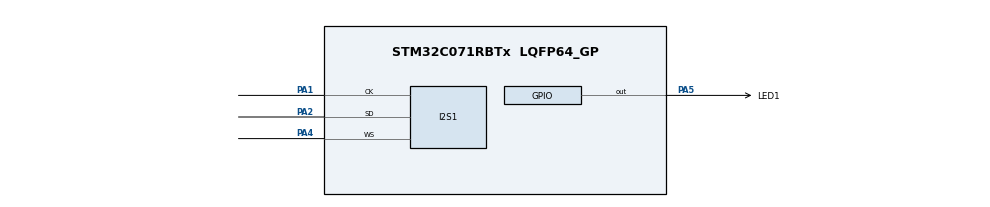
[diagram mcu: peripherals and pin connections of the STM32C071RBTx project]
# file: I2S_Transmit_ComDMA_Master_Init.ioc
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Dma.Request0=SPI1_TX
Dma.SPI1_TX.0.Direction=DMA_MEMORY_TO_PERIPH
Dma.SPI1_TX.0.EventEnable=DISABLE
Dma.SPI1_TX.0.Instance=DMA1_Channel1
Dma.SPI1_TX.0.MemDataAlignment=DMA_MDATAALIGN_HALFWORD
Dma.SPI1_TX.0.MemInc=DMA_MINC_ENABLE
Dma.SPI1_TX.0.Mode=DMA_NORMAL
Dma.SPI1_TX.0.PeriphDataAlignment=DMA_PDATAALIGN_HALFWORD
Dma.SPI1_TX.0.PeriphInc=DMA_PINC_DISABLE
Dma.SPI1_TX.0.Polarity=HAL_DMAMUX_REQ_GEN_RISING
Dma.SPI1_TX.0.Priority=DMA_PRIORITY_LOW
Dma.SPI1_TX.0.RequestNumber=1
Dma.SPI1_TX.0.SignalID=NONE
Dma.SPI1_TX.0.SyncEnable=DISABLE
Dma.SPI1_TX.0.SyncPolarity=HAL_DMAMUX_SYNC_NO_EVENT
Dma.SPI1_TX.0.SyncRequestNumber=1
Dma.SPI1_TX.0.SyncSignalID=NONE
I2S1.ErrorAudioFreq=-0.27 %
I2S1.FullDuplexMode=I2S_FULLDUPLEXMODE_DISABLE
I2S1.Instance=SPI$Index
I2S1.RealAudioFreq=7.978 KHz
I2S1.Standard=I2S_STANDARD_PCM_SHORT
I2S1.VirtualMode=I2S_MODE_MASTER
Mcu.Family=STM32C0
Mcu.Name=STM32C071RBTx
Mcu.Package=LQFP64_GP
NVIC.DMA1_Channel1_IRQn=true\:0\:0\:false\:false\:true\:false\:true\:true
PA1.Mode=Half_Duplex_Master
PA1.Signal=I2S1_CK
PA2.Mode=Half_Duplex_Master
PA2.Signal=I2S1_SD
PA4.Mode=Half_Duplex_Master
PA4.Signal=I2S1_WS
PA5.GPIO_Label=LED1
PA5.Signal=GPIO_Output
ProjectManager.HeapSize=0x200
ProjectManager.StackSize=0x400
ProjectManager.TargetToolchain=EWARM V9.20
RCC.ADCFreq_Value=48000000
RCC.AHBFreq_Value=48000000
RCC.CortexFreq_Value=48000000
RCC.EXTERNAL_CLOCK_VALUE=12288000
RCC.HCLKFreq_Value=48000000
RCC.HSE_VALUE=8000000
RCC.HSI48_VALUE=48000000
RCC.HSISYSCLKDivider=RCC_HSI_DIV1
RCC.HSI_VALUE=48000000
RCC.LSE_VALUE=32768
RCC.SYSCLKFreq_VALUE=48000000
board=custom

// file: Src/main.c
/* USER CODE BEGIN Header */
/**
  ******************************************************************************
  * @file    I2S/I2S_Transmit_ComDMA_Master_Init/Src/main.c
  * @author  MCD Application Team
  * @brief   This sample code shows how to use STM32C0xx I2S LL API to transmit
  *          a data buffer with a communication process based on DMA transfer.
  ******************************************************************************
  * @attention
  *
  * Copyright (c) 2024 STMicroelectronics.
  * All rights reserved.
  *
  * This software is licensed under terms that can be found in the LICENSE file
  * in the root directory of this software component.
  * If no LICENSE file comes with this software, it is provided AS-IS.
  *
  ******************************************************************************
  */
/* USER CODE END Header */
#include "main.h"

/* USER CODE BEGIN Includes */
#include "audio_sample.c"
/* USER CODE END Includes */

/* USER CODE BEGIN PV */
__IO uint8_t ubTransmissionComplete = 0;
/* USER CODE END PV */

void SystemClock_Config(void);
static void MX_GPIO_Init(void);
static void MX_DMA_Init(void);
static void MX_I2S1_Init(void);

int main(void)
{

  /* MCU Configuration--------------------------------------------------------*/

  /* Reset of all peripherals, Initializes the Flash interface and the Systick. */
  LL_APB2_GRP1_EnableClock(LL_APB2_GRP1_PERIPH_SYSCFG);
  LL_APB1_GRP1_EnableClock(LL_APB1_GRP1_PERIPH_PWR);

  /* SysTick_IRQn interrupt configuration */
  NVIC_SetPriority(SysTick_IRQn, 3);

  /* Configure the system clock */
  SystemClock_Config();

  /* Initialize all configured peripherals */
  MX_GPIO_Init();
  MX_DMA_Init();
  MX_I2S1_Init();
  /* USER CODE BEGIN 2 */

  /* Configure the DMA1_Channel1 functional parameters */
  LL_DMA_ConfigTransfer(DMA1,
                        LL_DMA_CHANNEL_1,
                        LL_DMA_DIRECTION_MEMORY_TO_PERIPH | LL_DMA_PRIORITY_HIGH | LL_DMA_MODE_NORMAL |
                        LL_DMA_PERIPH_NOINCREMENT | LL_DMA_MEMORY_INCREMENT |
                        LL_DMA_PDATAALIGN_HALFWORD | LL_DMA_MDATAALIGN_HALFWORD);

  LL_DMA_ConfigAddresses(DMA1,
                         LL_DMA_CHANNEL_1,
                         (uint32_t)AUDIO_SAMPLE, LL_SPI_DMA_GetRegAddr(SPI1),
                         LL_DMA_GetDataTransferDirection(DMA1, LL_DMA_CHANNEL_1));

  LL_DMA_SetDataLength(DMA1, LL_DMA_CHANNEL_1, sizeof(AUDIO_SAMPLE));

  LL_DMA_EnableIT_TC(DMA1, LL_DMA_CHANNEL_1);
  LL_DMA_EnableIT_TE(DMA1, LL_DMA_CHANNEL_1);

  /* Enable DMA TX interrupt */
  LL_I2S_EnableDMAReq_TX(SPI1);

  /* Enable I2S */
  LL_I2S_Enable(SPI1);

  /* Enable DMA transfer */
  LL_DMA_EnableChannel(DMA1, LL_DMA_CHANNEL_1);

  while (ubTransmissionComplete != 1)
  {
    /* Wait for end of transmission */
  }

  while (LL_I2S_IsActiveFlag_BSY(SPI1) == 1)
  {
    /* Wait for end of transmission */
  }

  LL_I2S_Disable(SPI1);

  LED_On();
  /* USER CODE END 2 */

  /* Infinite loop */
  while (1)
  {

  }
}

void SystemClock_Config(void)
{

  LL_FLASH_SetLatency(LL_FLASH_LATENCY_1);

  /* HSI configuration and activation */
  LL_RCC_HSI_Enable();
  while(LL_RCC_HSI_IsReady() != 1)
  {
  }

  LL_RCC_HSI_SetCalibTrimming(64);
  LL_RCC_SetHSIDiv(LL_RCC_HSI_DIV_1);
  /* Set AHB prescaler*/
  LL_RCC_SetAHBPrescaler(LL_RCC_HCLK_DIV_1);

  /* Sysclk activation on the HSI */
  LL_RCC_SetSysClkSource(LL_RCC_SYS_CLKSOURCE_HSI);
  while(LL_RCC_GetSysClkSource() != LL_RCC_SYS_CLKSOURCE_STATUS_HSI)
  {
  }

  /* Set APB1 prescaler*/
  LL_RCC_SetAPB1Prescaler(LL_RCC_APB1_DIV_1);
  LL_Init1msTick(48000000);
  /* Update CMSIS variable (which can be updated also through SystemCoreClockUpdate function) */
  LL_SetSystemCoreClock(48000000);
}

static void MX_I2S1_Init(void)
{

  LL_I2S_InitTypeDef I2S_InitStruct = {0};

  LL_GPIO_InitTypeDef GPIO_InitStruct = {0};

  LL_RCC_SetI2SClockSource(LL_RCC_I2S1_CLKSOURCE_SYSCLK);

  /* Peripheral clock enable */
  LL_APB2_GRP1_EnableClock(LL_APB2_GRP1_PERIPH_SPI1);

  LL_IOP_GRP1_EnableClock(LL_IOP_GRP1_PERIPH_GPIOA);
  /**I2S1 GPIO Configuration
  PA1   ------> I2S1_CK
  PA2   ------> I2S1_SD
  PA4   ------> I2S1_WS
  */
  GPIO_InitStruct.Pin = LL_GPIO_PIN_1;
  GPIO_InitStruct.Mode = LL_GPIO_MODE_ALTERNATE;
  GPIO_InitStruct.Speed = LL_GPIO_SPEED_FREQ_LOW;
  GPIO_InitStruct.OutputType = LL_GPIO_OUTPUT_PUSHPULL;
  GPIO_InitStruct.Pull = LL_GPIO_PULL_NO;
  GPIO_InitStruct.Alternate = LL_GPIO_AF_0;
  LL_GPIO_Init(GPIOA, &GPIO_InitStruct);

  GPIO_InitStruct.Pin = LL_GPIO_PIN_2;
  GPIO_InitStruct.Mode = LL_GPIO_MODE_ALTERNATE;
  GPIO_InitStruct.Speed = LL_GPIO_SPEED_FREQ_LOW;
  GPIO_InitStruct.OutputType = LL_GPIO_OUTPUT_PUSHPULL;
  GPIO_InitStruct.Pull = LL_GPIO_PULL_NO;
  GPIO_InitStruct.Alternate = LL_GPIO_AF_0;
  LL_GPIO_Init(GPIOA, &GPIO_InitStruct);

  GPIO_InitStruct.Pin = LL_GPIO_PIN_4;
  GPIO_InitStruct.Mode = LL_GPIO_MODE_ALTERNATE;
  GPIO_InitStruct.Speed = LL_GPIO_SPEED_FREQ_LOW;
  GPIO_InitStruct.OutputType = LL_GPIO_OUTPUT_PUSHPULL;
  GPIO_InitStruct.Pull = LL_GPIO_PULL_NO;
  GPIO_InitStruct.Alternate = LL_GPIO_AF_0;
  LL_GPIO_Init(GPIOA, &GPIO_InitStruct);

  /* I2S1 DMA Init */

  /* SPI1_TX Init */
  LL_DMA_SetPeriphRequest(DMA1, LL_DMA_CHANNEL_1, LL_DMAMUX_REQ_SPI1_TX);

  LL_DMA_SetDataTransferDirection(DMA1, LL_DMA_CHANNEL_1, LL_DMA_DIRECTION_MEMORY_TO_PERIPH);

  LL_DMA_SetChannelPriorityLevel(DMA1, LL_DMA_CHANNEL_1, LL_DMA_PRIORITY_LOW);

  LL_DMA_SetMode(DMA1, LL_DMA_CHANNEL_1, LL_DMA_MODE_NORMAL);

  LL_DMA_SetPeriphIncMode(DMA1, LL_DMA_CHANNEL_1, LL_DMA_PERIPH_NOINCREMENT);

  LL_DMA_SetMemoryIncMode(DMA1, LL_DMA_CHANNEL_1, LL_DMA_MEMORY_INCREMENT);

  LL_DMA_SetPeriphSize(DMA1, LL_DMA_CHANNEL_1, LL_DMA_PDATAALIGN_HALFWORD);

  LL_DMA_SetMemorySize(DMA1, LL_DMA_CHANNEL_1, LL_DMA_MDATAALIGN_HALFWORD);

  I2S_InitStruct.Mode = LL_I2S_MODE_MASTER_TX;
  I2S_InitStruct.Standard = LL_I2S_STANDARD_PCM_SHORT;
  I2S_InitStruct.DataFormat = LL_I2S_DATAFORMAT_16B;
  I2S_InitStruct.MCLKOutput = LL_I2S_MCLK_OUTPUT_DISABLE;
  I2S_InitStruct.AudioFreq = LL_I2S_AUDIOFREQ_8K;
  I2S_InitStruct.ClockPolarity = LL_I2S_POLARITY_LOW;
  LL_I2S_Init(SPI1, &I2S_InitStruct);

}

static void MX_DMA_Init(void)
{

  /* Init with LL driver */
  /* DMA controller clock enable */
  LL_AHB1_GRP1_EnableClock(LL_AHB1_GRP1_PERIPH_DMA1);

  /* DMA interrupt init */
  /* DMA1_Channel1_IRQn interrupt configuration */
  NVIC_SetPriority(DMA1_Channel1_IRQn, 0);
  NVIC_EnableIRQ(DMA1_Channel1_IRQn);

}

static void MX_GPIO_Init(void)
{
  LL_GPIO_InitTypeDef GPIO_InitStruct = {0};

  /* GPIO Ports Clock Enable */
  LL_IOP_GRP1_EnableClock(LL_IOP_GRP1_PERIPH_GPIOA);

  /**/
  LL_GPIO_ResetOutputPin(LED1_GPIO_Port, LED1_Pin);

  /**/
  GPIO_InitStruct.Pin = LED1_Pin;
  GPIO_InitStruct.Mode = LL_GPIO_MODE_OUTPUT;
  GPIO_InitStruct.Speed = LL_GPIO_SPEED_FREQ_LOW;
  GPIO_InitStruct.OutputType = LL_GPIO_OUTPUT_PUSHPULL;
  GPIO_InitStruct.Pull = LL_GPIO_PULL_NO;
  LL_GPIO_Init(LED1_GPIO_Port, &GPIO_InitStruct);

}

/* USER CODE BEGIN 4 */
/**
  * @brief  Turn-on LED1.
  * @param  None
  * @retval None
  */
void LED_On(void)
{
  /* Turn LED1 on */
  LL_GPIO_SetOutputPin(LED1_GPIO_Port, LED1_Pin);
}

/**
  * @brief  Turn-off LED1.
  * @param  None
  * @retval None
  */
void LED_Off(void)
{
  /* Turn LED1 off */
  LL_GPIO_ResetOutputPin(LED1_GPIO_Port, LED1_Pin);
}

/**
  * @brief  Set LED1 to Blinking mode for an infinite loop (toggle period based on value provided as input parameter).
  * @param  Period : Period of time (in ms) between each toggling of LED
  *   This parameter can be user defined values. Pre-defined values used in that example are :
  *     @arg LED_BLINK_FAST : Fast Blinking
  *     @arg LED_BLINK_SLOW : Slow Blinking
  *     @arg LED_BLINK_ERROR : Error specific Blinking
  * @retval None
  */
void LED_Blinking(uint32_t Period)
{
  /* Turn LED1 on */
  LL_GPIO_SetOutputPin(LED1_GPIO_Port, LED1_Pin);

  /* Toggle IO in an infinite loop */
  while (1)
  {
    LL_GPIO_TogglePin(LED1_GPIO_Port, LED1_Pin);
    LL_mDelay(Period);
  }
}

/**
  * @brief  Function called from DMA IRQ Handler when transmission is completed.
  *         Function is in charge of reading byte received on I2C lines.
  * @param  None
  * @retval None
  */
void DMA1_TransmitComplete_Callback(void)
{
  ubTransmissionComplete = 1;
}

/**
  * @brief  Function called from DMA1 IRQ Handler
  * @note   This function is executed when the transfer error interrupt
  *         is generated during DMA transfer
  * @retval None
  */
void DMA1_Transfer_Error_Callback(void)
{
  /* Disable DMA1_Channel1_IRQn */
  NVIC_DisableIRQ(DMA1_Channel1_IRQn);

  /* Error detected during DMA transfer */
  LED_Blinking(1000);
}

/* USER CODE END 4 */

void Error_Handler(void)
{
  /* USER CODE BEGIN Error_Handler_Debug */
  /* User can add his own implementation to report the HAL error return state */
  __disable_irq();
  while (1)
  {
    LED_Blinking(1000);
  }
  /* USER CODE END Error_Handler_Debug */
}
